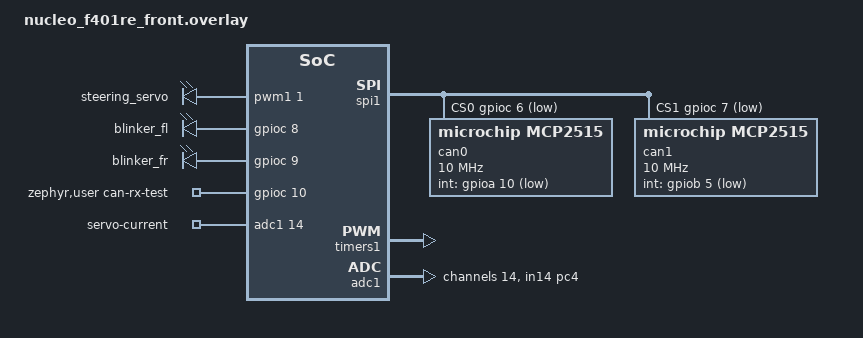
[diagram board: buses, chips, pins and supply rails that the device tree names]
#include <zephyr/dt-bindings/pwm/pwm.h>
#include <zephyr/dt-bindings/gpio/gpio.h>
#include <zephyr/dt-bindings/adc/adc.h>

/*** FRONT - STEERING STM32 - NODE 2 ***/

/ {
	aliases {
    /* CAN Aliases */
    can-a = &can0;
    can-b = &can1;

    /* Steering Wheel Alias */
		steering-servo = &steering_servo;

    /* Front Blinker Aliases */
		blinker-fl = &blinker_fl;
		blinker-fr = &blinker_fr;
	};

	servo_pwms {
		compatible = "pwm-leds";

		steering_servo: steering-servo { pwms = <&pwm1 1 PWM_MSEC(20) PWM_POLARITY_NORMAL>; };
	};

	blinker_outputs {
		compatible = "gpio-leds";

		blinker_fl: blinker-fl { gpios = <&gpioc 8 GPIO_ACTIVE_HIGH>; };
		blinker_fr: blinker-fr { gpios = <&gpioc 9 GPIO_ACTIVE_HIGH>; };
	};

	zephyr,user {
    /* ACS712 current sensor divider output: servo PC4 */
		io-channels = <&adc1 14>;
		io-channel-names = "servo-current";

    /* Scope markers for timing measurements */
    can-rx-test-gpios  = <&gpioc 10 GPIO_ACTIVE_HIGH>; /* Toggles on CAN frame reception */
	};
};

/* Disable I2C3: PA8 is the board's default I2C3 SCL pin, release it for TIM1_CH1. */
&i2c3 { status = "disabled"; };

/* Dual MCP2515 CAN Controllers on SPI1 */
&spi1 {
  status = "okay";
  /* cs-gpios idx 0 = CAN A (PC6), idx 1 = CAN B (PC7) */
  cs-gpios = <&gpioc 6 (GPIO_ACTIVE_LOW | GPIO_PULL_UP)>,  
             <&gpioc 7 (GPIO_ACTIVE_LOW | GPIO_PULL_UP)>;

  can0: mcp2515@0 {
    compatible = "microchip,mcp2515";
    reg = <0>;                                  /* Index 0 in cs-gpios */
    spi-max-frequency = <10000000>;             /* 10 MHz max SPI speed */
    osc-freq = <16000000>;                      /* Given */
    bitrate = <500000>;                         /* CAN bitrate 500 kbit/s */
    int-gpios = <&gpioa 10 GPIO_ACTIVE_LOW>;  /* PA10 for CAN A interupt pin */
    status = "okay";
    label = "can0";
  };

  can1: mcp2515@1 {
    compatible = "microchip,mcp2515";
    reg = <1>;                                  /* Index 1 in cs-gpios */
    spi-max-frequency = <10000000>;             /* 10 MHz max SPI speed */
    osc-freq = <16000000>;                      /* Given */
    bitrate = <500000>;                         /* CAN bitrate 500 kbit/s */
    int-gpios = <&gpiob 5 GPIO_ACTIVE_LOW>;   /* PB5 for CAN B interupt pin */
    status = "okay";
    label = "can1";
  };

};

/* PWM1: Steering Servo (PA8/TIM1_CH1) */
&timers1 {
	/* 84 MHz / (83 + 1) = 1 MHz, giving 1 us PWM resolution. */
	st,prescaler = <83>;
	status = "okay";

	pwm1: pwm {
		pinctrl-0 = <&tim1_ch1_pa8>;
		pinctrl-names = "default";
		status = "okay";
	};
};

/* Disable USART1 (Pi link), replacing with CAN */
&usart1 { status = "disabled"; };

/* ADC1: Steering Servo ACS712 Current Sensor (PC4/IN14) */
&adc1 {
	#address-cells = <1>;
	#size-cells = <0>;
	pinctrl-0 = <&adc1_in14_pc4>;
	pinctrl-names = "default";
	status = "okay";

  /* Steering Servo Current Sensor (PC4) */
	channel@e {
		reg = <14>;
		zephyr,gain = "ADC_GAIN_1";
		zephyr,reference = "ADC_REF_INTERNAL";
		zephyr,acquisition-time = <ADC_ACQ_TIME_MAX>;
		zephyr,resolution = <12>;
	};
};

